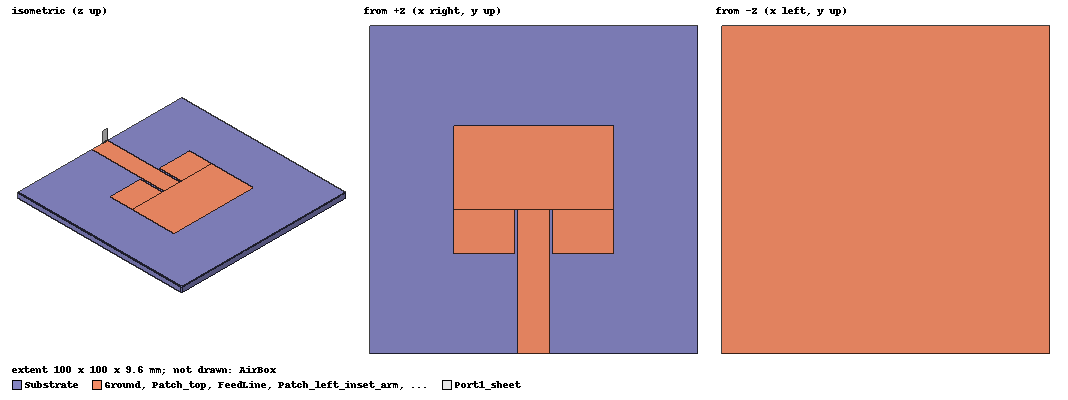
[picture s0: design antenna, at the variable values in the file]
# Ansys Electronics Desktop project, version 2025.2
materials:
  vacuum: permittivity=1
  Rogers5880_custom: permittivity=2.2 permeability=1 dielectric_loss_tangent=0.0009
  copper: permeability=0.999991 conductivity=58000000
  air: permittivity=1.0006 permeability=1.0000004

design antenna (HFSS, HFSS Modal Network, model units mm)
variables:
  freq0 = 2.45GHz
  sub_h = 3.175mm
  sub_w = 100mm
  sub_l = 100mm
  patch_w = 48.5mm
  patch_l = 39mm
  feed_w = 9.6mm
  inset_d = 13.5mm
  notch_gap = 1mm
  air_margin = 40mm
  air_above = 55mm
  air_below = 25mm
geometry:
  Substrate [Rogers5880_custom] = box(corner=(-sub_w/2, -sub_l/2, 0mm), size=(sub_w, sub_l, sub_h))
  Ground [copper] = rectangle(corner=(-sub_w/2, -sub_l/2, 0mm), x_size=sub_w, y_size=sub_l)
  Patch_top [copper] = rectangle(corner=(-patch_w/2, -patch_l/2+inset_d, sub_h), x_size=patch_w, y_size=patch_l-inset_d)
  Patch_left_inset_arm [copper] = rectangle(corner=(-patch_w/2, -patch_l/2, sub_h), x_size=(patch_w-feed_w)/2-notch_gap, y_size=inset_d)
  Patch_right_inset_arm [copper] = rectangle(corner=(feed_w/2+notch_gap, -patch_l/2, sub_h), x_size=(patch_w-feed_w)/2-notch_gap, y_size=inset_d)
  FeedLine [copper] = rectangle(corner=(-feed_w/2, -sub_l/2, sub_h), x_size=feed_w, y_size=sub_l/2-patch_l/2+inset_d)
  Port1_sheet = rectangle(corner=(-4.8mm, -50mm, 0mm), z_size=9.6mm, x_size=3.175mm)
  AirBox [air] = box(corner=(-sub_w/2-air_margin, -sub_l/2-air_margin, -air_below), size=(sub_w+2*air_margin, sub_l+2*air_margin, sub_h+air_above+air_below))
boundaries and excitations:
  PEC_Metals: Perfect E Objects=[Ground, Patch_top, Patch_left_inset_arm, Patch_right_inset_arm, FeedLine]
  Rad1: Radiation Objects=AirBox
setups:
  Setup1: HfssDriven Frequency=2.45GHz MaxDeltaE=0.01 MaximumPasses=12 MinimumPasses=2 MinimumConvergedPasses=1 PercentRefinement=30 BasisOrder=1 DrivenSolverType="Direct Solver"
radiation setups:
  Infinite Sphere1: Infinite Sphere Theta=0deg..180deg step 5deg Phi=0deg..360deg step 5deg
